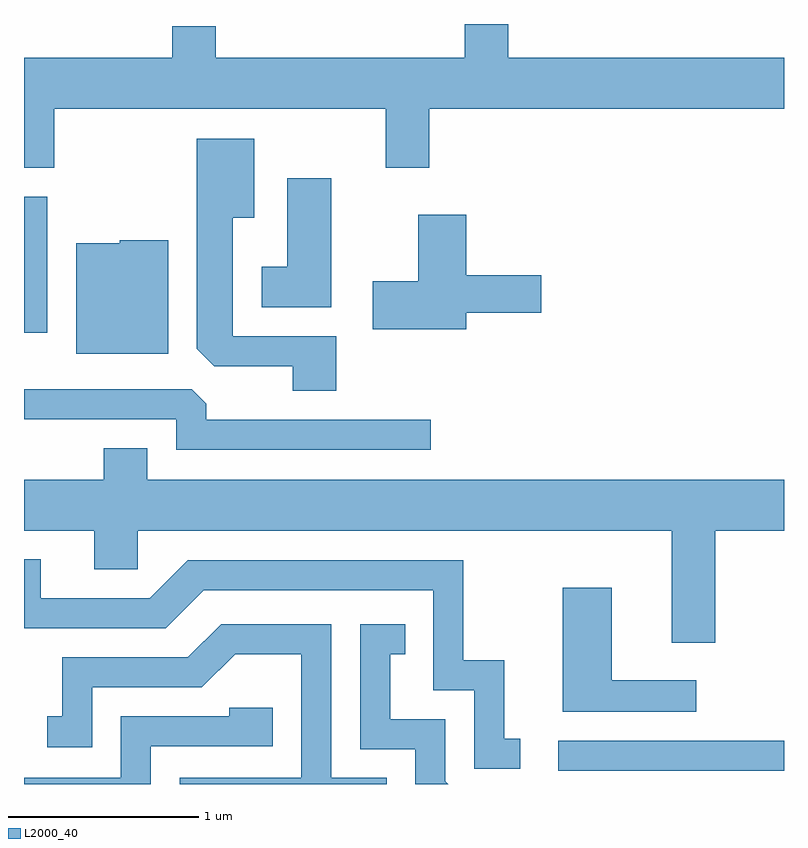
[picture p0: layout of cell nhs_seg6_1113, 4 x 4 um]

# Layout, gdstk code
import gdstk
lib = gdstk.Library(unit=1e-6, precision=1e-09)
def R(c, l, rs):  # rectangles x0, y0, x1, y1
    for r in rs: c.add(gdstk.rectangle(r[:2], r[2:], *l))
def P(c, l, *ps):  # polygons
    for p in ps: c.add(gdstk.Polygon(p, *l))
L2000_40 = (2000, 40)

nhs_seg6_1113 = lib.new_cell('nhs_seg6_1113')
R(nhs_seg6_1113, L2000_40, [(220.423,1644.231,221.611,1644.389), (217.611,1646.536,217.734,1647.254)])
P(nhs_seg6_1113, L2000_40, [(217.769,1647.716),(219.516,1647.716),(219.516,1647.406),(219.744,1647.406),(219.744,1647.716),(221.611,1647.716),(221.611,1647.984),(220.159,1647.984),(220.159,1648.162),(219.931,1648.162),(219.931,1647.984),(218.619,1647.984),(218.619,1648.149),(218.391,1648.149),(218.391,1647.984),(217.611,1647.984),(217.611,1647.406),(217.769,1647.406)],
  [(219.254,1646.519),(218.709,1646.519),(218.709,1647.141),(218.824,1647.141),(218.824,1647.559),(218.521,1647.559),(218.521,1646.452),(218.612,1646.361),(219.026,1646.361),(219.026,1646.231),(219.254,1646.231)],
  [(219.229,1647.349),(218.996,1647.349),(218.996,1646.884),(218.861,1646.884),(218.861,1646.671),(219.229,1646.671)],
  [(219.939,1646.641),(220.334,1646.641),(220.334,1646.839),(219.939,1646.839),(219.939,1647.159),(219.686,1647.159),(219.686,1646.809),(219.446,1646.809),(219.446,1646.556),(219.939,1646.556)],
  [(218.369,1647.024),(218.115,1647.024),(218.115,1647.009),(217.886,1647.009),(217.886,1646.426),(218.369,1646.426)],
  [(219.753,1646.079),(218.569,1646.079),(218.569,1646.164),(218.494,1646.239),(217.611,1646.239),(217.611,1646.081),(218.411,1646.081),(218.411,1645.921),(219.753,1645.921)],
  [(221.249,1645.496),(221.611,1645.496),(221.611,1645.764),(218.259,1645.764),(218.259,1645.929),(218.031,1645.929),(218.031,1645.764),(217.611,1645.764),(217.611,1645.496),(217.981,1645.496),(217.981,1645.291),(218.209,1645.291),(218.209,1645.496),(221.021,1645.496),(221.021,1644.906),(221.249,1644.906)],
  [(220.223,1644.399),(220.139,1644.399),(220.139,1644.814),(219.924,1644.814),(219.924,1645.339),(218.474,1645.339),(218.274,1645.139),(217.699,1645.139),(217.699,1645.344),(217.611,1645.344),(217.611,1644.981),(218.357,1644.981),(218.557,1645.181),(219.766,1645.181),(219.766,1644.656),(219.981,1644.656),(219.981,1644.241),(220.223,1644.241)],
  [(221.148,1644.709),(220.704,1644.709),(220.704,1645.194),(220.446,1645.194),(220.446,1644.541),(221.148,1644.541)],
  [(219.829,1644.177),(219.829,1644.504),(219.539,1644.504),(219.539,1644.846),(219.618,1644.846),(219.618,1645.004),(219.381,1645.004),(219.381,1644.346),(219.671,1644.346),(219.671,1644.162),(219.844,1644.162)],
  [(219.519,1644.194),(219.229,1644.194),(219.229,1645.004),(218.649,1645.004),(218.474,1644.829),(217.811,1644.829),(217.811,1644.519),(217.733,1644.519),(217.733,1644.356),(217.969,1644.356),(217.969,1644.671),(218.547,1644.671),(218.722,1644.846),(219.071,1644.846),(219.071,1644.194),(218.431,1644.194),(218.431,1644.162),(219.519,1644.162)],
  [(218.279,1644.361),(218.919,1644.361),(218.919,1644.564),(218.691,1644.564),(218.691,1644.519),(218.121,1644.519),(218.121,1644.194),(217.611,1644.194),(217.611,1644.162),(218.279,1644.162)])

lib.write_gds('nhs_seg6_1113.gds')
